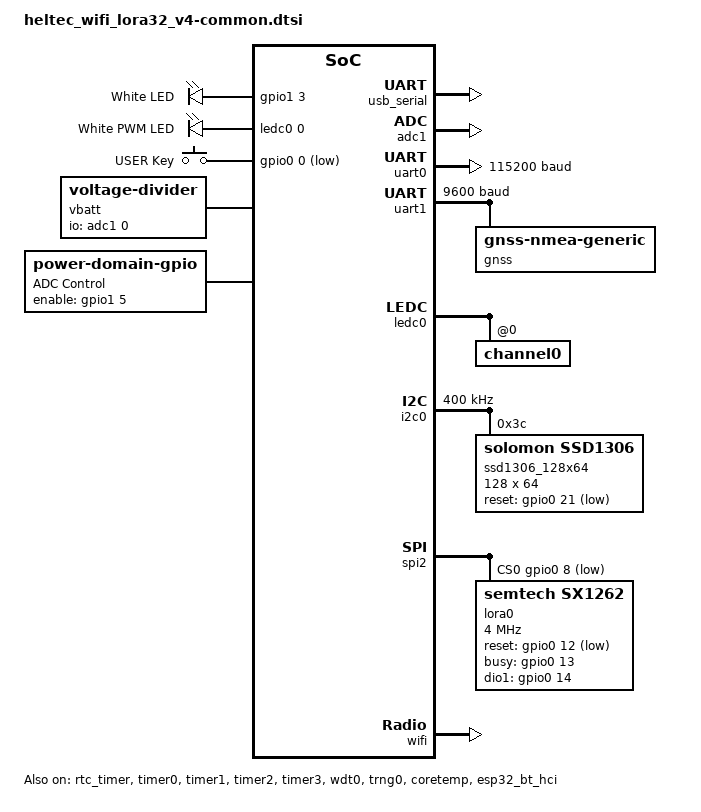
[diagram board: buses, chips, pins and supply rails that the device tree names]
/*
 * Heltec WiFi LoRa 32 (V4) — hardware common to all V4 revisions.
 *
 * Pin source: the Meshtastic reference firmware
 * (firmware/variants/esp32s3/heltec_v4/variant.h). Anything that differs
 * between the 4.2 (GC1109 FEM) / 4.3 (KCT8103L FEM) / r8 (octal-PSRAM) boards
 * is NOT here — it lives in the per-board .dts or the per-revision overlay.
 *
 * Relative to the V3 the SoC and the RF path changed; the digital wiring did
 * not. The radio SPI pins (CS8/RESET12/BUSY13/DIO1-14/SCK9/MISO11/MOSI10), the
 * OLED I2C (SDA17/SCL18, RESET21), the white LED (GPIO35), the button (GPIO0)
 * and the VBAT divider are all identical to the upstream V3 board.
 *
 * NEW on V4, and the reason this is more than a config tweak:
 *
 *   RF front-end module (FEM).  The SX1262 no longer drives the antenna
 *   directly; it feeds an integrated PA+LNA FEM (GC1109 on 4.2, KCT8103L on
 *   4.3/r8).  The FEM needs three controls the bare-radio V3 never had:
 *     - VFEM power   (GPIO7, "LORA_PA_POWER")  -> LDO enable, must be ON first
 *     - CSD enable   (GPIO2)                   -> HIGH = FEM on, LOW = shutdown
 *     - mode select  (GPIO46 or GPIO5)         -> HIGH on TX, LOW on RX
 *   The SX1262's own DIO2 drives the FEM's TX/RX path-select pin automatically
 *   (dio2-tx-enable, same mechanism as V3). These other three pins are owned by
 *   the board C init (heltec_wifi_lora32_v4_fem.c): it powers the rail, detects
 *   which FEM is fitted (reads CSD), and drives the mode pin with the radio via
 *   the FEM hook (<zephyr/meshtastic/fem.h>) — HIGH on TX, LOW on RX (the RX-LOW
 *   enables the KCT8103L LNA). One image for both revisions; no gpio-hogs here.
 *
 * VERIFY(hardware): on the bench confirm (a) the OLED powers up (Vext polarity),
 * (b) the boot log names the detected FEM, and (c) TX actually engages the PA
 * (measure output power) rather than the ~1 dB bypass path.
 */

#include <zephyr/dt-bindings/gpio/gpio.h>
#include <zephyr/dt-bindings/lora/sx126x.h>
#include <zephyr/dt-bindings/input/input-event-codes.h>

/ {
	aliases {
		led0 = &led0;
		pwm-0 = &ledc0;
		pwm-led0 = &pwm_led_white;
		uart-0 = &uart0;
		uart-1 = &uart1;
		i2c-0 = &i2c0;
		lora0 = &lora0;
		sw0 = &button0;
		watchdog0 = &wdt0;
		die-temp0 = &coretemp;
		gnss = &gnss;
	};

	leds {
		compatible = "gpio-leds";

		led0: led {
			gpios = <&gpio1 3 GPIO_ACTIVE_HIGH>;	/* GPIO35 */
			label = "White LED";
		};
	};

	pwmleds {
		compatible = "pwm-leds";

		pwm_led_white: pwm_led_gpio35 {
			label = "White PWM LED";
			pwms = <&ledc0 0 PWM_MSEC(10) PWM_POLARITY_NORMAL>;
		};
	};

	buttons {
		compatible = "gpio-keys";

		button0: button_0 {
			gpios = <&gpio0 0 (GPIO_PULL_UP | GPIO_ACTIVE_LOW)>;
			label = "USER Key";
			zephyr,code = <INPUT_KEY_0>;
		};
	};

	/*
	 * Battery sense: plain resistor divider on GPIO1 (ADC1 ch0), same as V3.
	 * The V4 has NO fuel-gauge IC. VBAT sense is gated by ADC_CTRL (GPIO37);
	 * see adc_ctrl below.
	 */
	vbatt: vbatt {
		compatible = "voltage-divider";
		io-channels = <&adc1 0>;
		output-ohms = <100000>;
		full-ohms = <(100000 + 390000)>;
		power-domains = <&adc_ctrl>;
	};

	/*
	 * ADC_CTRL (GPIO37) gates the battery divider on 4.2/4.3. Absent on r8
	 * (that board omits ADC_CTRL) — the r8 .dts deletes this node.
	 */
	adc_ctrl: adc_ctrl {
		compatible = "power-domain-gpio";
		enable-gpios = <&gpio1 5 GPIO_ACTIVE_HIGH>;	/* GPIO37, ADC_CTRL_ENABLED=HIGH */
		#power-domain-cells = <0>;
		label = "ADC Control";
	};

	/*
	 * Console/shell on the ESP32-S3 built-in USB-Serial-JTAG (&usb_serial),
	 * NOT uart0. The V4 REMOVED the CP2102 bridge the V3 used — the USB-C port
	 * is wired to the SoC's native USB (D+/D- on GPIO19/20), so uart0
	 * (GPIO43/44) is no longer reachable over the cable. usb_serial enumerates
	 * as a CDC-ACM device (/dev/ttyACM0) and carries both the boot log and the
	 * shell. The SERIAL_ESP32_USB driver auto-enables from the node below.
	 * uart0 stays enabled for the header pins / netserial PhoneAPI.
	 */
	chosen {
		zephyr,sram = &sram1;
		zephyr,console = &usb_serial;
		zephyr,shell-uart = &usb_serial;
		zephyr,flash = &flash0;
		zephyr,code-partition = &slot0_partition;
		zephyr,bt-hci = &esp32_bt_hci;
		zephyr,display = &ssd1306_128x64;
	};
};

/* Native USB console/shell — the V4 has no CP2102 (see chosen above). */
&usb_serial {
	status = "okay";
};

&adc1 {
	status = "okay";
};

&uart0 {
	status = "okay";
	current-speed = <115200>;
	pinctrl-0 = <&uart0_default>;
	pinctrl-names = "default";
};

/*
 * GNSS is an OPTIONAL pluggable module, not soldered on the V4. The board
 * itself provides the SH1.25-8Pin GNSS connector, an enable/standby control
 * GPIO (driven by the per-board .dts — a gps_standby hog; pins move on r8),
 * and this NMEA UART. Some V4 kits include an external GPS board (typically a
 * Quectel L76K or compatible NMEA receiver) that plugs in here. The generic
 * NMEA driver handles any such receiver; with no module connected it simply
 * never reports a fix, which is harmless.
 * VERIFY(hardware): baud (L76K defaults to 9600) and that the standby/enable
 * line is asserted.
 */
&uart1 {
	status = "okay";
	current-speed = <9600>;
	pinctrl-0 = <&uart1_default>;
	pinctrl-names = "default";

	gnss: gnss {
		compatible = "gnss-nmea-generic";
		status = "okay";
	};
};

/*
 * The RF front-end module (FEM) control pins — VFEM power (GPIO7), CSD
 * chip-enable (GPIO2), and the per-FEM mode pin (GC1109 CPS = GPIO46 /
 * KCT8103L CTX = GPIO5) — are NOT hogged here. They are owned by the board C
 * init (heltec_wifi_lora32_v4_fem.c), which powers the rail, RUNTIME-DETECTS
 * which FEM is fitted by reading CSD, logs it, and configures the right pins.
 * That is why this is a single image with no board revisions. DIO2 still drives
 * the FEM TX/RX path-select pin automatically (dio2-tx-enable on lora0).
 */
&gpio0 {
	status = "okay";
};

&gpio1 {
	status = "okay";
};

&ledc0 {
	pinctrl-0 = <&ledc0_default>;
	pinctrl-names = "default";
	status = "okay";
	#address-cells = <1>;
	#size-cells = <0>;

	channel0@0 {
		reg = <0x0>;
		timer = <0>;
	};
};

&i2c0 {
	status = "okay";
	clock-frequency = <I2C_BITRATE_FAST>;
	pinctrl-0 = <&i2c0_default>;
	pinctrl-names = "default";

	/* SSD1315 OLED — driver-compatible with the SSD1306, same as V3. */
	ssd1306_128x64: display-controller@3c {
		compatible = "solomon,ssd1306";
		reg = <0x3c>;
		width = <128>;
		height = <64>;
		segment-offset = <0>;
		page-offset = <0>;
		display-offset = <0>;
		multiplex-ratio = <63>;
		segment-remap;
		com-invdir;
		inversion-on;
		prechargep = <0x22>;
		reset-gpios = <&gpio0 21 GPIO_ACTIVE_LOW>;
		power-domains = <&vext_ctrl>;
	};
};

&spi2 {
	#address-cells = <1>;
	#size-cells = <0>;
	status = "okay";
	pinctrl-0 = <&spim2_default>;
	pinctrl-names = "default";

	cs-gpios = <&gpio0 8 GPIO_ACTIVE_LOW>;

	/*
	 * SX1262 — identical digital wiring to the V3. DIO2 drives the FEM's
	 * TX/RX path-select pin (dio2-tx-enable); DIO3 supplies the 1.8 V TCXO.
	 * rx-boosted matches the reference firmware default (+3 dB RX sensitivity).
	 */
	lora0: modem@0 {
		compatible = "semtech,sx1262";
		reg = <0>;
		reset-gpios = <&gpio0 12 (GPIO_OPEN_DRAIN | GPIO_ACTIVE_LOW)>;
		busy-gpios = <&gpio0 13 GPIO_ACTIVE_HIGH>;
		/*
		 * GPIO_INT_WAKEUP arms GPIO14 as a light-sleep wake source so an
		 * incoming frame (DIO1 goes HIGH on RX-done and stays HIGH until the
		 * driver clears it over SPI) wakes the SoC from PM_STATE_STANDBY instead
		 * of waiting for the next RTC-timer tick. The flag rides the sx126x
		 * driver's own gpio_pin_configure_dt(dio1, GPIO_INPUT) call at init, which
		 * on the ESP32-S3 arms EXT1 (RTC controller, level-HIGH) on GPIO14 — a
		 * valid EXT1 pin (<= GPIO21). It coexists with the driver's normal edge
		 * IRQ (separate GPIO-matrix interrupt; the esp32 gpio driver strips the
		 * WAKEUP bit from interrupt-config, so the two never clobber each other).
		 *
		 * Two consequences handled elsewhere:
		 *  - EXT1 arming is compiled in whenever CONFIG_PM *or* CONFIG_POWEROFF, so
		 *    it also arms for deep sleep. The admin shutdown path disarms it before
		 *    sys_poweroff() (meshtastic_radio_disarm_dio1_wake()), so a powered-off
		 *    node still wakes only on reset — as canShutdown advertises.
		 *  - EXT1 wakes the CPU but the edge was missed while asleep, so the frame
		 *    is not auto-read; the PM wake hook (meshtastic_radio.c) polls DIO1 on
		 *    wake and submits the driver work. See docs/light-sleep-governor.md.
		 */
		dio1-gpios = <&gpio0 14 (GPIO_ACTIVE_HIGH | GPIO_INT_WAKEUP)>;
		dio2-tx-enable;
		dio3-tcxo-voltage = <SX126X_DIO3_TCXO_1V8>;
		tcxo-power-startup-delay-ms = <5>;
		spi-max-frequency = <4000000>;
		rx-boosted;
	};
};

/*
 * Power management: make the board CAPABLE of light sleep.
 *
 * Zephyr's PM path for the ESP32-S3 maps PM_STATE_STANDBY -> esp_light_sleep_start()
 * (soc/espressif/common/power.c). It has a hard prerequisite that is easy to miss:
 * the SoC's RTC timer must be enabled AND marked as a wake source, otherwise
 * pm_state_set() bails out with "Sleep skipped. Make sure RTC counter driver is
 * enabled." — a log line, not a build error. The SoC dtsi ships rtc_timer as
 * status = "disabled", so every board has to opt in. Do that here.
 *
 * Everything below is INERT unless the application sets CONFIG_PM (and, for the
 * power domains above, CONFIG_PM_DEVICE): with PM off, the counter driver is not
 * built and the wakeup-source flags have no consumer. So this describes hardware
 * capability, it does not impose a power policy — the per-board profile overlays
 * (samples/meshtastic/overlay-v4-*.conf) carry the PM opt-in.
 *
 * `wakeup-source` here means exactly one thing: under CONFIG_PM_DEVICE_SYSTEM_MANAGED,
 * these devices are skipped by the suspend-everything loop, so they stay powered
 * across a system low-power state (subsys/pm/device_system_managed.c). It does NOT
 * configure a pin, an interrupt, or the SoC wake matrix — the application still has
 * to arm the actual wake source (pm_device_wakeup_enable(), and the usual GPIO
 * interrupt config for a pin wake).
 */
&rtc_timer {
	status = "okay";
	wakeup-source;
};

/*
 * gpio0 carries both wake-capable pins we care about: the USER button (GPIO0) and
 * the SX1262's DIO1 IRQ (GPIO14). Both are <= GPIO21, so both are RTC-capable and
 * inside the ESP32-S3 GPIO-wake mask (GPIO0-GPIO21). Keep the controller powered
 * across sleep or neither can wake us.
 */
&gpio0 {
	wakeup-source;
};

/*
 * Keep the radio powered across light sleep. A mesh node that suspends its
 * transceiver on every idle window stops hearing the mesh; the reference firmware
 * makes the same choice (its LS state keeps LoRa on and only deep sleep powers the
 * radio down). Note the Zephyr sx126x PM action only disconnects/reconnects the RF
 * switch GPIOs — chip sleep is driven separately by the driver's own idle handling.
 */
&lora0 {
	wakeup-source;
};

&timer0 {
	status = "okay";
};

&timer1 {
	status = "okay";
};

&timer2 {
	status = "okay";
};

&timer3 {
	status = "okay";
};

&wdt0 {
	status = "okay";
};

&trng0 {
	status = "okay";
};

&coretemp {
	status = "okay";
};

&esp32_bt_hci {
	status = "okay";
};

&wifi {
	status = "okay";
};
